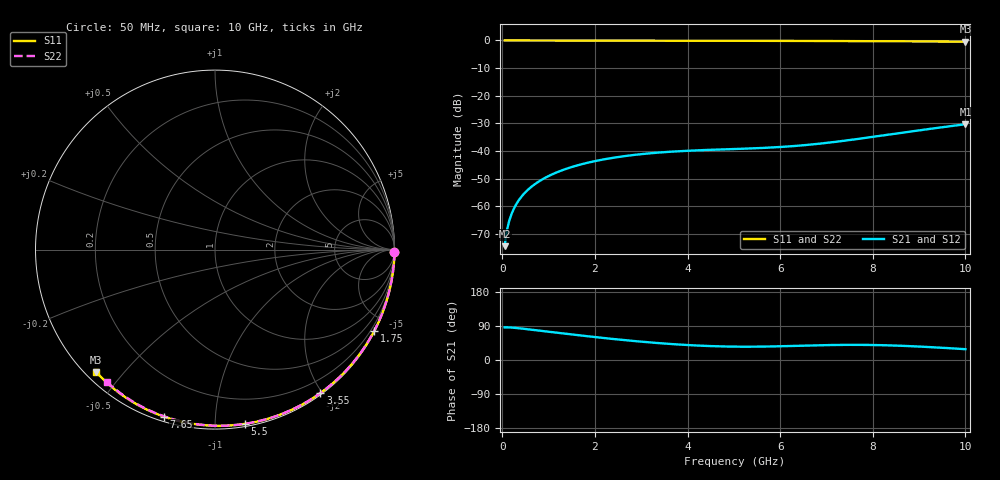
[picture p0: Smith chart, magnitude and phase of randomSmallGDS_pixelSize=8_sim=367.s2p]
! freq	dB(S11)	phase(S11)	dB(S12)	phase(S12)
!  dB(S21)	phase(S21)	dB(S22)	phase(S22)
!S-par simulation data
#  GHz  S  DB  R 50
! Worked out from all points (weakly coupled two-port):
!   200 points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, 50 MHz to 10 GHz, reference 50 ohm
!   highest |S21| = -30.34 dB at 10 GHz (marker M1); lowest = -74.5 dB at 50 MHz (marker M2)
!   lowest |S11| = -0.4 dB at 10 GHz (marker M3), VSWR 39.20, Z = 1.5 - j21.2 ohm
!   |S11| at or under -10 dB: nowhere
!   |S22| runs from -0.4 to 0.0 dB; largest |S21 - S12| = 0
!   S11 on the Smith chart (normalised r, x): 50 MHz: open; 1.75 GHz: 0.04, -4.14; 3.55 GHz: 0.02, -1.97; 5.5 GHz: 0.02, -1.18; 7.65 GHz: 0.02, -0.74; 10 GHz: 0.03, -0.42
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0.05  -0.00 -0.8  -74.51 86.1  -74.51 86.1  -0.00 -0.8
0.1  -0.00 -1.6  -68.74 86.2  -68.74 86.2  -0.00 -1.5
0.15  -0.00 -2.4  -65.30 86.0  -65.30 86.0  -0.00 -2.3
0.2  -0.00 -3.2  -62.84 85.6  -62.84 85.6  -0.00 -3.0
0.25  -0.00 -3.9  -60.92 85.1  -60.92 85.1  -0.00 -3.8
0.35  -0.00 -5.5  -58.02 83.9  -58.02 83.9  -0.00 -5.3
0.5  -0.01 -7.9  -54.96 81.8  -54.96 81.8  -0.01 -7.6
0.7  -0.01 -11.0  -52.09 79.0  -52.09 79.0  -0.01 -10.6
1  -0.02 -15.6  -49.10 74.6  -49.10 74.6  -0.02 -15.0
1.35  -0.03 -21.0  -46.66 69.6  -46.66 69.6  -0.03 -20.2
1.75  -0.03 -27.2  -44.67 63.9  -44.67 63.9  -0.03 -26.1
2.5  -0.05 -38.4  -42.22 54.1  -42.22 54.1  -0.05 -37.0
3.4  -0.07 -51.6  -40.58 44.3  -40.58 44.3  -0.07 -49.6
3.55  -0.07 -53.7  -40.39 43.0  -40.39 43.0  -0.07 -51.7
4.3  -0.09 -64.2  -39.74 37.7  -39.74 37.7  -0.09 -61.9
5.05  -0.11 -74.4  -39.30 35.2  -39.30 35.2  -0.11 -71.7
5.5  -0.13 -80.3  -39.02 35.2  -39.02 35.2  -0.12 -77.4
6.7  -0.18 -95.5  -37.64 38.5  -37.64 38.5  -0.18 -92.2
7.65  -0.24 -107.0  -35.73 40.0  -35.73 40.0  -0.23 -103.3
8.35  -0.29 -115.3  -34.09 38.6  -34.09 38.6  -0.28 -111.2
9.2  -0.36 -125.0  -32.10 34.3  -32.10 34.3  -0.35 -120.7
10  -0.44 -134.1  -30.34 28.5  -30.34 28.5  -0.43 -129.4
